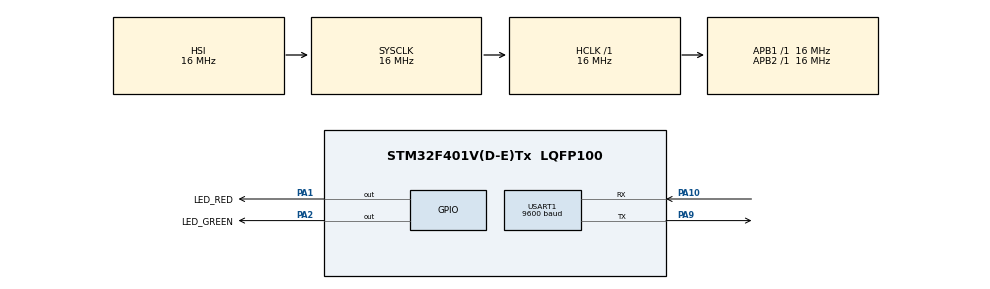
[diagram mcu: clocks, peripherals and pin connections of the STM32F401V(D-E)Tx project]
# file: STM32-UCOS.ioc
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Mcu.Family=STM32F4
Mcu.Name=STM32F401V(D-E)Tx
Mcu.Package=LQFP100
NVIC.PriorityGroup=NVIC_PRIORITYGROUP_4
PA1.GPIO_Label=LED_RED
PA1.GPIO_Speed=GPIO_SPEED_FREQ_VERY_HIGH
PA1.Signal=GPIO_Output
PA10.Mode=Asynchronous
PA10.Signal=USART1_RX
PA2.GPIO_Label=LED_GREEN
PA2.GPIO_Speed=GPIO_SPEED_FREQ_VERY_HIGH
PA2.Signal=GPIO_Output
PA9.Mode=Asynchronous
PA9.Signal=USART1_TX
ProjectManager.HeapSize=0x200
ProjectManager.StackSize=0x400
ProjectManager.TargetToolchain=MDK-ARM V5.27
RCC.48MHZClocksFreq_Value=48000000
RCC.AHBFreq_Value=16000000
RCC.APB1Freq_Value=16000000
RCC.APB1TimFreq_Value=16000000
RCC.APB2Freq_Value=16000000
RCC.APB2TimFreq_Value=16000000
RCC.CortexFreq_Value=16000000
RCC.HCLKFreq_Value=16000000
RCC.HSE_VALUE=16000000
RCC.HSI_VALUE=16000000
RCC.LSE_VALUE=32768
RCC.PLLP=RCC_PLLP_DIV8
RCC.SYSCLKFreq_VALUE=16000000
RCC.VCOOutputFreq_Value=192000000
USART1.BaudRate=9600
USART1.Parity=PARITY_NONE
USART1.VirtualMode=VM_ASYNC
USART1.WordLength=WORDLENGTH_8B
board=custom

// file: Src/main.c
/* USER CODE BEGIN Header */
/**
  ******************************************************************************
  * @file           : main.c
  * @brief          : Main program body
  ******************************************************************************
  * @attention
  *
  * <h2><center>&copy; Copyright (c) 2020 STMicroelectronics.
  * All rights reserved.</center></h2>
  *
  * This software component is licensed by ST under BSD 3-Clause license,
  * the "License"; You may not use this file except in compliance with the
  * License. You may obtain a copy of the License at:
  *                        opensource.org/licenses/BSD-3-Clause
  *
  ******************************************************************************
  */
/* USER CODE END Header */

#include "main.h"

UART_HandleTypeDef huart1;

void SystemClock_Config(void);
static void MX_GPIO_Init(void);
static void MX_USART1_UART_Init(void);
/* USER CODE BEGIN PFP */

uint8_t Txbuf[100];
uint8_t Rxbuf[100];
uint8_t temp8;
uint16_t temp16;

void PrintChar(uint8_t * Char)
{//strlen((const char *)Char)
	HAL_UART_Transmit(&huart1, Char ,1 , 1000);
}
uint8_t printBuf[20];

uint8_t * hex2str(unsigned char *inchar, unsigned int len)
{
    unsigned char hbit,lbit;
    unsigned int i;
	  for(i=0;i<len;i++)
		{
	  	hbit = (*(inchar+i)&0xf0)>>4;
	    lbit = *(inchar+i)&0x0f;
	    if (hbit>9) printBuf[2*i]='A'+hbit-10;
	  	else printBuf[2*i]='0'+hbit;
	    if (lbit>9) printBuf[2*i+1]='A'+lbit-10;
	  	else    printBuf[2*i+1]='0'+lbit;
	  }
		printBuf[2*i] = 0;
		return printBuf;
}
void PrintHex(unsigned char *inchar, unsigned int len)
{
	PrintChar(hex2str(inchar, len));
}

void getChar(uint8_t * Char)
{
	PrintChar("Please input a char:");
	if(HAL_UART_Receive(&huart1, Rxbuf, 1, 10000)==HAL_OK)
	{
		*Char=Rxbuf[0];
		PrintChar(Char);
	}
	else
	{
		PrintChar("Receive failed!     ");
	}
}

void delay(int ms)
{
	int i;
	int j;
 	for(i=0;i<ms;i++)
	{
		for(j=0;j<1000;j++)
			;
	}
}

/* USER CODE END PFP */

int main(void)
{

  /* MCU Configuration--------------------------------------------------------*/

  /* Reset of all peripherals, Initializes the Flash interface and the Systick. */
  HAL_Init();

  /* Configure the system clock */
  SystemClock_Config();

  /* Initialize all configured peripherals */
  MX_GPIO_Init();
  MX_USART1_UART_Init();

  /* Infinite loop */
  while (1)
  {

    /* USER CODE BEGIN 3 */
//    FlipPin(LED_YELLOW_GPIO_Port,LED_YELLOW_Pin);
    FlipPin(LED_RED_GPIO_Port,LED_RED_Pin);
    FlipPin(LED_GREEN_GPIO_Port,LED_GREEN_Pin);
    temp8=0x55;
//    PrintHex(,1);
    HAL_UART_Transmit(&huart1, &temp8 ,1 , 1000);
    HAL_UART_Receive(&huart1, Rxbuf, 1, 10000);

//    delay(1000);
//    FlipPin(LED_YELLOW_GPIO_Port,LED_YELLOW_Pin);
    FlipPin(LED_RED_GPIO_Port,LED_RED_Pin);
    FlipPin(LED_GREEN_GPIO_Port,LED_GREEN_Pin);
    temp8=0x31;
    HAL_UART_Transmit(&huart1, &temp8 ,1 , 1000);
//    PrintHex(&temp8,1);
//    PrintChar("A");

//    delay(1000);
  }
  /* USER CODE END 3 */
}

void SystemClock_Config(void)
{
  RCC_OscInitTypeDef RCC_OscInitStruct = {0};
  RCC_ClkInitTypeDef RCC_ClkInitStruct = {0};

  /** Configure the main internal regulator output voltage
  */
  __HAL_RCC_PWR_CLK_ENABLE();
  __HAL_PWR_VOLTAGESCALING_CONFIG(PWR_REGULATOR_VOLTAGE_SCALE2);
  /** Initializes the CPU, AHB and APB busses clocks
  */
  RCC_OscInitStruct.OscillatorType = RCC_OSCILLATORTYPE_HSI;
  RCC_OscInitStruct.HSIState = RCC_HSI_ON;
  RCC_OscInitStruct.HSICalibrationValue = RCC_HSICALIBRATION_DEFAULT;
  RCC_OscInitStruct.PLL.PLLState = RCC_PLL_NONE;
  if (HAL_RCC_OscConfig(&RCC_OscInitStruct) != HAL_OK)
  {
    Error_Handler();
  }
  /** Initializes the CPU, AHB and APB busses clocks
  */
  RCC_ClkInitStruct.ClockType = RCC_CLOCKTYPE_HCLK|RCC_CLOCKTYPE_SYSCLK
                              |RCC_CLOCKTYPE_PCLK1|RCC_CLOCKTYPE_PCLK2;
  RCC_ClkInitStruct.SYSCLKSource = RCC_SYSCLKSOURCE_HSI;
  RCC_ClkInitStruct.AHBCLKDivider = RCC_SYSCLK_DIV1;
  RCC_ClkInitStruct.APB1CLKDivider = RCC_HCLK_DIV1;
  RCC_ClkInitStruct.APB2CLKDivider = RCC_HCLK_DIV1;

  if (HAL_RCC_ClockConfig(&RCC_ClkInitStruct, FLASH_LATENCY_0) != HAL_OK)
  {
    Error_Handler();
  }
}

static void MX_USART1_UART_Init(void)
{

  huart1.Instance = USART1;
  huart1.Init.BaudRate = 9600;
  huart1.Init.WordLength = UART_WORDLENGTH_8B;
  huart1.Init.StopBits = UART_STOPBITS_1;
  huart1.Init.Parity = UART_PARITY_NONE;
  huart1.Init.Mode = UART_MODE_TX_RX;
  huart1.Init.HwFlowCtl = UART_HWCONTROL_NONE;
  huart1.Init.OverSampling = UART_OVERSAMPLING_16;
  if (HAL_UART_Init(&huart1) != HAL_OK)
  {
    Error_Handler();
  }

}

static void MX_GPIO_Init(void)
{
  GPIO_InitTypeDef GPIO_InitStruct = {0};

  /* GPIO Ports Clock Enable */
  __HAL_RCC_GPIOA_CLK_ENABLE();

  /*Configure GPIO pin Output Level */
  HAL_GPIO_WritePin(GPIOA, LED_RED_Pin|LED_GREEN_Pin, GPIO_PIN_RESET);

  /*Configure GPIO pins : LED_RED_Pin LED_GREEN_Pin */
  GPIO_InitStruct.Pin = LED_RED_Pin|LED_GREEN_Pin;
  GPIO_InitStruct.Mode = GPIO_MODE_OUTPUT_PP;
  GPIO_InitStruct.Pull = GPIO_NOPULL;
  GPIO_InitStruct.Speed = GPIO_SPEED_FREQ_VERY_HIGH;
  HAL_GPIO_Init(GPIOA, &GPIO_InitStruct);

}

void Error_Handler(void)
{
}

/************************ (C) COPYRIGHT STMicroelectronics *****END OF FILE****/
